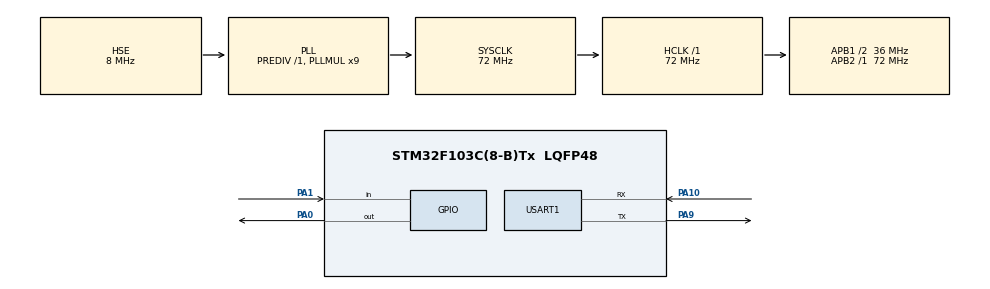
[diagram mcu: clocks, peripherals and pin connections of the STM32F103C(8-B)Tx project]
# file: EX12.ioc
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FREERTOS.Tasks01=Task01,0,128,Task01Funct,Default,NULL,Dynamic,NULL,NULL;Task02,0,128,Task02Funct,Default,NULL,Dynamic,NULL,NULL
Mcu.Family=STM32F1
Mcu.Name=STM32F103C(8-B)Tx
Mcu.Package=LQFP48
NVIC.PriorityGroup=NVIC_PRIORITYGROUP_4
NVIC.TIM1_UP_IRQn=true\:15\:0\:false\:false\:true\:false\:false\:true\:true
NVIC.TimeBase=TIM1_UP_IRQn
NVIC.TimeBaseIP=TIM1
PA0-WKUP.Signal=GPIO_Output
PA1.GPIO_PuPd=GPIO_PULLUP
PA1.Signal=GPIO_Input
PA10.Mode=Asynchronous
PA10.Signal=USART1_RX
PA13.Mode=Serial_Wire
PA13.Signal=SYS_JTMS-SWDIO
PA14.Mode=Serial_Wire
PA14.Signal=SYS_JTCK-SWCLK
PA9.Mode=Asynchronous
PA9.Signal=USART1_TX
PD0-OSC_IN.Mode=HSE-External-Oscillator
PD0-OSC_IN.Signal=RCC_OSC_IN
PD1-OSC_OUT.Mode=HSE-External-Oscillator
PD1-OSC_OUT.Signal=RCC_OSC_OUT
ProjectManager.HeapSize=0x200
ProjectManager.StackSize=0x400
ProjectManager.TargetToolchain=MDK-ARM V5.32
RCC.AHBFreq_Value=72000000
RCC.APB1CLKDivider=RCC_HCLK_DIV2
RCC.APB1Freq_Value=36000000
RCC.APB1TimFreq_Value=72000000
RCC.APB2Freq_Value=72000000
RCC.APB2TimFreq_Value=72000000
RCC.HCLKFreq_Value=72000000
RCC.PLLMUL=RCC_PLL_MUL9
RCC.PLLSourceVirtual=RCC_PLLSOURCE_HSE
RCC.SYSCLKFreq_VALUE=72000000
RCC.SYSCLKSource=RCC_SYSCLKSOURCE_PLLCLK
RCC.USBFreq_Value=72000000
USART1.VirtualMode=VM_ASYNC
VP_FREERTOS_VS_CMSIS_V1.Mode=CMSIS_V1
VP_SYS_VS_tim1.Mode=TIM1
board=custom

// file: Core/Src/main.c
/* USER CODE BEGIN Header */
/**
  ******************************************************************************
  * @file           : main.c
  * @brief          : Main program body
  ******************************************************************************
  * @attention
  *
  * Copyright (c) 2025 STMicroelectronics.
  * All rights reserved.
  *
  * This software is licensed under terms that can be found in the LICENSE file
  * in the root directory of this software component.
  * If no LICENSE file comes with this software, it is provided AS-IS.
  *
  ******************************************************************************
  */
/* USER CODE END Header */
#include "main.h"
#include "cmsis_os.h"

/* USER CODE BEGIN Includes */
#include "stdio.h"
#include "string.h"
/* USER CODE END Includes */

UART_HandleTypeDef huart1;

osThreadId Task01Handle;
osThreadId Task02Handle;
/* USER CODE BEGIN PV */
volatile uint8_t button_flag = 0;
/* USER CODE END PV */

void SystemClock_Config(void);
static void MX_GPIO_Init(void);
static void MX_USART1_UART_Init(void);
void Task01Funct(void const * argument);
void Task02Funct(void const * argument);

/* USER CODE BEGIN 0 */
void UART1_SendChar(char c){
	HAL_UART_Transmit(&huart1, (uint8_t*)&c, 1, HAL_MAX_DELAY);
}

struct __FILE {
    int dummy;
};
FILE __stdout;
int fputc(int ch, FILE *f){
	UART1_SendChar(ch);
	return ch;
}
/* USER CODE END 0 */

int main(void)
{

  /* MCU Configuration--------------------------------------------------------*/

  /* Reset of all peripherals, Initializes the Flash interface and the Systick. */
  HAL_Init();

  /* Configure the system clock */
  SystemClock_Config();

  /* Initialize all configured peripherals */
  MX_GPIO_Init();
  MX_USART1_UART_Init();

  /* Create the thread(s) */
  /* definition and creation of Task01 */
  osThreadDef(Task01, Task01Funct, osPriorityNormal, 0, 128);
  Task01Handle = osThreadCreate(osThread(Task01), NULL);

  /* definition and creation of Task02 */
  osThreadDef(Task02, Task02Funct, osPriorityNormal, 0, 128);
  Task02Handle = osThreadCreate(osThread(Task02), NULL);

  /* Start scheduler */
  osKernelStart();

  /* We should never get here as control is now taken by the scheduler */

  /* Infinite loop */
  while (1)
  {

  }
}

void SystemClock_Config(void)
{
  RCC_OscInitTypeDef RCC_OscInitStruct = {0};
  RCC_ClkInitTypeDef RCC_ClkInitStruct = {0};

  /** Initializes the RCC Oscillators according to the specified parameters
  * in the RCC_OscInitTypeDef structure.
  */
  RCC_OscInitStruct.OscillatorType = RCC_OSCILLATORTYPE_HSE;
  RCC_OscInitStruct.HSEState = RCC_HSE_ON;
  RCC_OscInitStruct.HSEPredivValue = RCC_HSE_PREDIV_DIV1;
  RCC_OscInitStruct.HSIState = RCC_HSI_ON;
  RCC_OscInitStruct.PLL.PLLState = RCC_PLL_ON;
  RCC_OscInitStruct.PLL.PLLSource = RCC_PLLSOURCE_HSE;
  RCC_OscInitStruct.PLL.PLLMUL = RCC_PLL_MUL9;
  if (HAL_RCC_OscConfig(&RCC_OscInitStruct) != HAL_OK)
  {
    Error_Handler();
  }

  /** Initializes the CPU, AHB and APB buses clocks
  */
  RCC_ClkInitStruct.ClockType = RCC_CLOCKTYPE_HCLK|RCC_CLOCKTYPE_SYSCLK
                              |RCC_CLOCKTYPE_PCLK1|RCC_CLOCKTYPE_PCLK2;
  RCC_ClkInitStruct.SYSCLKSource = RCC_SYSCLKSOURCE_PLLCLK;
  RCC_ClkInitStruct.AHBCLKDivider = RCC_SYSCLK_DIV1;
  RCC_ClkInitStruct.APB1CLKDivider = RCC_HCLK_DIV2;
  RCC_ClkInitStruct.APB2CLKDivider = RCC_HCLK_DIV1;

  if (HAL_RCC_ClockConfig(&RCC_ClkInitStruct, FLASH_LATENCY_2) != HAL_OK)
  {
    Error_Handler();
  }
}

static void MX_USART1_UART_Init(void)
{

  huart1.Instance = USART1;
  huart1.Init.BaudRate = 115200;
  huart1.Init.WordLength = UART_WORDLENGTH_8B;
  huart1.Init.StopBits = UART_STOPBITS_1;
  huart1.Init.Parity = UART_PARITY_NONE;
  huart1.Init.Mode = UART_MODE_TX_RX;
  huart1.Init.HwFlowCtl = UART_HWCONTROL_NONE;
  huart1.Init.OverSampling = UART_OVERSAMPLING_16;
  if (HAL_UART_Init(&huart1) != HAL_OK)
  {
    Error_Handler();
  }

}

static void MX_GPIO_Init(void)
{
  GPIO_InitTypeDef GPIO_InitStruct = {0};

  /* GPIO Ports Clock Enable */
  __HAL_RCC_GPIOD_CLK_ENABLE();
  __HAL_RCC_GPIOA_CLK_ENABLE();

  /*Configure GPIO pin Output Level */
  HAL_GPIO_WritePin(GPIOA, GPIO_PIN_0, GPIO_PIN_RESET);

  /*Configure GPIO pin : PA0 */
  GPIO_InitStruct.Pin = GPIO_PIN_0;
  GPIO_InitStruct.Mode = GPIO_MODE_OUTPUT_PP;
  GPIO_InitStruct.Pull = GPIO_NOPULL;
  GPIO_InitStruct.Speed = GPIO_SPEED_FREQ_LOW;
  HAL_GPIO_Init(GPIOA, &GPIO_InitStruct);

  /*Configure GPIO pin : PA1 */
  GPIO_InitStruct.Pin = GPIO_PIN_1;
  GPIO_InitStruct.Mode = GPIO_MODE_INPUT;
  GPIO_InitStruct.Pull = GPIO_PULLUP;
  HAL_GPIO_Init(GPIOA, &GPIO_InitStruct);

}

/* USER CODE BEGIN 4 */
//void HAL_GPIO_EXTI_Callback(uint16_t GPIO_Pin){
//	if(GPIO_Pin == GPIO_PIN_1){
//		button_flag = 1;
//	}
//}
/* USER CODE END 4 */

void Task01Funct(void const * argument)
{
  /* USER CODE BEGIN 5 */
	uint8_t toggle = 0;
  /* Infinite loop */
  for(;;)
  {
		printf("Task01 is running\n");
		if(HAL_GPIO_ReadPin(GPIOA, GPIO_PIN_1) == GPIO_PIN_RESET){
			toggle = !toggle;
			if(toggle){
				printf("Task02 Suspend\n");
				osThreadSuspend(Task02Handle);
			}
			else{
				printf("Task02 Resume\n");
				osThreadResume(Task02Handle);
			}
		}
    osDelay(500);
  }
  /* USER CODE END 5 */
}

void Task02Funct(void const * argument)
{
  /* USER CODE BEGIN Task02Funct */
  /* Infinite loop */
  for(;;)
  {
		printf("Task02 is running\n");
		HAL_GPIO_TogglePin(GPIOA, GPIO_PIN_0);
    osDelay(500);
  }
  /* USER CODE END Task02Funct */
}

void HAL_TIM_PeriodElapsedCallback(TIM_HandleTypeDef *htim)
{
  if (htim->Instance == TIM1) {
    HAL_IncTick();
  }
}

void Error_Handler(void)
{
  __disable_irq();
  while (1)
  {
  }
}
